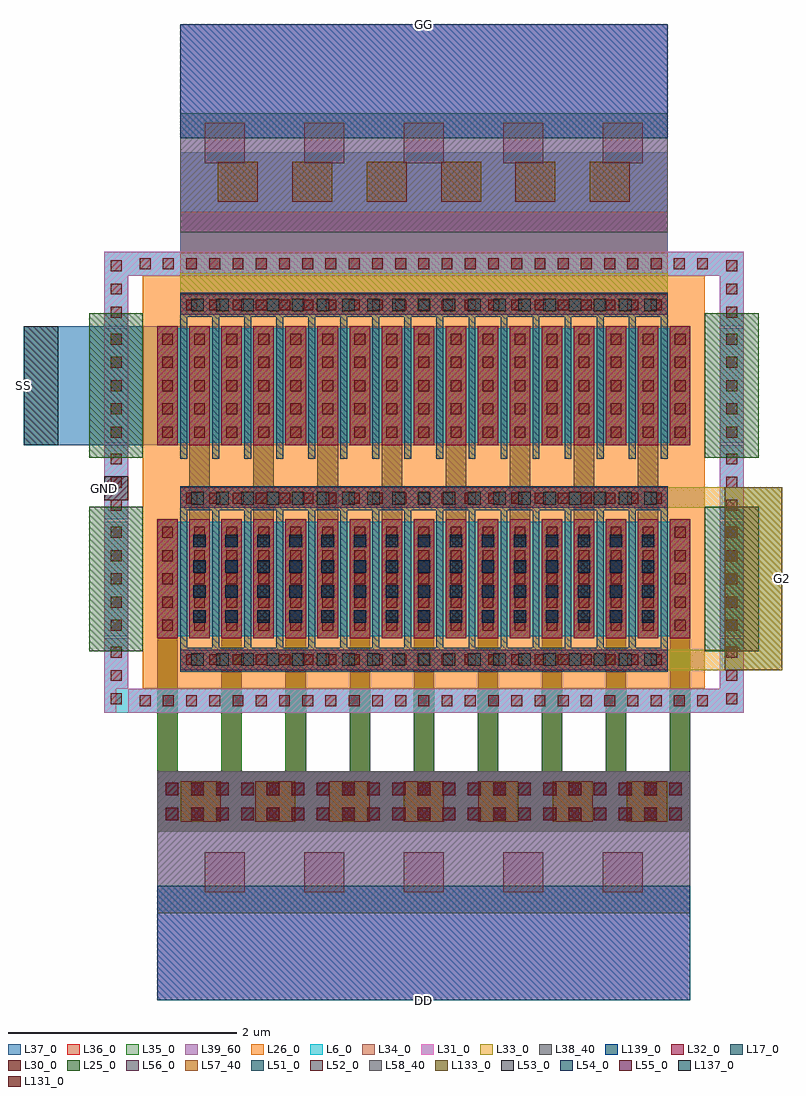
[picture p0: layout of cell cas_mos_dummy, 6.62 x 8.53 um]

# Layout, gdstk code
import gdstk
lib = gdstk.Library(unit=1e-6, precision=1e-09)
def R(c, l, rs):  # rectangles x0, y0, x1, y1
    for r in rs: c.add(gdstk.rectangle(r[:2], r[2:], *l))
def A(c, l, x, y, w, h, nx, ny, dx, dy):  # array of equal rectangles
    R(c, l, [(x+i*dx, y+j*dy, x+i*dx+w, y+j*dy+h) for i in range(nx) for j in range(ny)])
def P(c, l, *ps):  # polygons
    for p in ps: c.add(gdstk.Polygon(p, *l))
L6_0 = (6, 0)
L17_0 = (17, 0)
L25_0 = (25, 0)
L26_0 = (26, 0)
L30_0 = (30, 0)
L31_0 = (31, 0)
L32_0 = (32, 0)
L33_0 = (33, 0)
L34_0 = (34, 0)
L35_0 = (35, 0)
L36_0 = (36, 0)
L37_0 = (37, 0)
L38_40 = (38, 40)
L39_60 = (39, 60)
L51_0 = (51, 0)
L52_0 = (52, 0)
L53_0 = (53, 0)
L54_0 = (54, 0)
L55_0 = (55, 0)
L56_0 = (56, 0)
L57_40 = (57, 40)
L58_40 = (58, 40)
L131_0 = (131, 0)
L133_0 = (133, 0)
L137_0 = (137, 0)
L139_0 = (139, 0)

cas_mos_dummy = lib.new_cell('cas_mos_dummy')
R(cas_mos_dummy, L6_0, [(-0.47,-1.69,-0.26,-0.69), (0,-1.69,4.65,-0.69), (4.91,-1.69,5.12,-0.69), (-0.47,-0.67,-0.26,-0.02), (4.91,-0.67,5.12,-0.02), (-0.47,0,-0.26,1), (0,0,4.65,1), (4.91,0,5.12,1)])
P(cas_mos_dummy, L6_0, [(-0.26,-1.71),(-0.47,-1.71),(-0.47,-2.36),(5.12,-2.36),(5.12,-2.36),(5.12,-1.71),(4.91,-1.71),(4.91,-2.15),(-0.26,-2.15)],
  [(-0.47,1.02),(-0.26,1.02),(-0.26,1.46),(4.91,1.46),(4.91,1.02),(5.12,1.02),(5.12,1.67),(5.12,1.67),(-0.47,1.67)])
A(cas_mos_dummy, L17_0, 0.195, -1.79, 0.06, 1.2, 16, 1, 0.28, 0)
A(cas_mos_dummy, L17_0, 0.195, -0.14, 0.06, 1.24, 16, 1, 0.28, 0)
R(cas_mos_dummy, L17_0, [(0.195,-2,4.455,-1.79), (0.195,-0.59,4.455,-0.38), (0.195,1.1,4.455,1.31)])
R(cas_mos_dummy, L25_0, [(-0.6,-1.82,-0.13,-0.56), (4.78,-1.82,5.25,-0.56), (-0.6,-0.13,-0.13,1.13), (4.78,-0.13,5.25,1.13)])
R(cas_mos_dummy, L26_0, [(-0.13,-2.15,4.78,1.46)])
A(cas_mos_dummy, L30_0, -0.159, -2.302, 0.095, 0.095, 10, 1, 0.203, 0)
A(cas_mos_dummy, L30_0, 2.277, -2.302, 0.095, 0.095, 13, 1, 0.203, 0)
A(cas_mos_dummy, L30_0, -0.412, -2.285, 0.095, 0.095, 1, 3, 0, 0.203)
A(cas_mos_dummy, L30_0, 4.967, -2.285, 0.095, 0.095, 1, 3, 0, 0.203)
A(cas_mos_dummy, L30_0, 0.248, -1.942, 0.095, 0.094, 13, 2, 0.203, 3.1)
A(cas_mos_dummy, L30_0, 3.495, -1.942, 0.095, 0.094, 5, 2, 0.203, 3.1)
A(cas_mos_dummy, L30_0, -0.412, -1.643, 0.095, 0.095, 1, 5, 0, 0.203)
A(cas_mos_dummy, L30_0, 0.037, -1.643, 0.095, 0.095, 1, 5, 0, 0.203)
A(cas_mos_dummy, L30_0, 0.317, -1.643, 0.095, 0.095, 1, 5, 0, 0.203)
A(cas_mos_dummy, L30_0, 0.598, -1.643, 0.094, 0.095, 6, 5, 0.28, 0.203)
A(cas_mos_dummy, L30_0, 2.277, -1.643, 0.096, 0.095, 1, 5, 0, 0.203)
A(cas_mos_dummy, L30_0, 2.558, -1.643, 0.094, 0.095, 1, 5, 0, 0.203)
A(cas_mos_dummy, L30_0, 2.838, -1.643, 0.094, 0.095, 1, 5, 0, 0.203)
A(cas_mos_dummy, L30_0, 3.117, -1.643, 0.095, 0.095, 1, 5, 0, 0.203)
A(cas_mos_dummy, L30_0, 3.397, -1.643, 0.095, 0.095, 1, 5, 0, 0.203)
A(cas_mos_dummy, L30_0, 3.678, -1.643, 0.094, 0.095, 4, 5, 0.28, 0.203)
A(cas_mos_dummy, L30_0, 4.967, -1.643, 0.095, 0.095, 1, 5, 0, 0.203)
A(cas_mos_dummy, L30_0, -0.412, -0.595, 0.095, 0.095, 1, 3, 0, 0.203)
A(cas_mos_dummy, L30_0, 4.967, -0.595, 0.095, 0.095, 1, 3, 0, 0.203)
A(cas_mos_dummy, L30_0, 0.248, -0.532, 0.095, 0.095, 13, 1, 0.203, 0)
A(cas_mos_dummy, L30_0, 3.495, -0.532, 0.095, 0.095, 5, 1, 0.203, 0)
A(cas_mos_dummy, L30_0, -0.412, 0.046, 0.095, 0.095, 1, 5, 0, 0.203)
A(cas_mos_dummy, L30_0, 0.037, 0.046, 0.095, 0.095, 1, 5, 0, 0.203)
A(cas_mos_dummy, L30_0, 0.317, 0.046, 0.095, 0.095, 1, 5, 0, 0.203)
A(cas_mos_dummy, L30_0, 0.598, 0.046, 0.094, 0.095, 6, 5, 0.28, 0.203)
A(cas_mos_dummy, L30_0, 2.277, 0.046, 0.096, 0.095, 1, 5, 0, 0.203)
A(cas_mos_dummy, L30_0, 2.558, 0.046, 0.094, 0.095, 1, 5, 0, 0.203)
A(cas_mos_dummy, L30_0, 2.838, 0.046, 0.094, 0.095, 1, 5, 0, 0.203)
A(cas_mos_dummy, L30_0, 3.117, 0.046, 0.095, 0.095, 1, 5, 0, 0.203)
A(cas_mos_dummy, L30_0, 3.397, 0.046, 0.095, 0.095, 1, 5, 0, 0.203)
A(cas_mos_dummy, L30_0, 3.678, 0.046, 0.094, 0.095, 4, 5, 0.28, 0.203)
A(cas_mos_dummy, L30_0, 4.967, 0.046, 0.095, 0.095, 1, 5, 0, 0.203)
A(cas_mos_dummy, L30_0, -0.412, 1.094, 0.095, 0.095, 1, 3, 0, 0.203)
A(cas_mos_dummy, L30_0, 4.967, 1.094, 0.095, 0.095, 1, 3, 0, 0.203)
A(cas_mos_dummy, L30_0, -0.159, 1.518, 0.095, 0.094, 10, 1, 0.203, 0)
A(cas_mos_dummy, L30_0, 2.277, 1.518, 0.095, 0.094, 13, 1, 0.203, 0)
R(cas_mos_dummy, L30_0, [(1.872,-2.302,1.966,-2.207), (2.074,-2.302,2.17,-2.207), (2.886,-1.942,2.982,-1.848), (3.09,-1.942,3.184,-1.848), (3.292,-1.942,3.388,-1.848), (2.886,-0.532,2.982,-0.437), (3.09,-0.532,3.184,-0.437), (3.292,-0.532,3.388,-0.437), (2.886,1.158,2.982,1.252), (3.09,1.158,3.184,1.252), (3.292,1.158,3.388,1.252), (1.872,1.518,1.966,1.612), (2.074,1.518,2.17,1.612)])
A(cas_mos_dummy, L31_0, -0.005, -1.71, 0.18, 1.04, 17, 2, 0.28, 1.69)
R(cas_mos_dummy, L31_0, [(0.195,-1.99,4.455,-1.81), (0.195,-0.57,4.455,-0.39), (0.195,1.12,4.455,1.3)])
P(cas_mos_dummy, L31_0, [(-0.365,-2.15),(-0.365,-2.36),(5.12,-2.36),(5.12,-2.36),(5.12,1.67),(5.12,1.67),(-0.47,1.67),(-0.47,-2.36),(-0.26,-2.36),(-0.26,1.46),(4.91,1.46),(4.91,-2.15)])
A(cas_mos_dummy, L32_0, -0.005, -1.71, 0.18, 1.04, 17, 2, 0.28, 1.69)
R(cas_mos_dummy, L32_0, [(0.195,-1.99,4.455,-1.81), (0.195,-0.57,4.455,-0.39), (0.195,1.12,4.455,1.3)])
A(cas_mos_dummy, L33_0, -0.005, -1.71, 0.18, 1.04, 17, 2, 0.28, 1.69)
R(cas_mos_dummy, L33_0, [(0.195,-1.99,4.455,-1.81), (4.455,-1.99,4.955,-1.81), (4.955,-1.99,5.455,-0.39), (0.195,-0.57,4.455,-0.39), (4.455,-0.57,4.955,-0.39), (0.195,1.12,4.455,1.3), (0.195,1.3,4.455,1.48)])
A(cas_mos_dummy, L34_0, -0.005, -1.71, 0.18, 1.04, 17, 2, 0.28, 1.69)
R(cas_mos_dummy, L34_0, [(0.275,-0.67,0.455,-0.02), (0.275,-0.67,0.455,-0.02), (0.275,-0.67,0.455,-0.02), (0.275,-0.67,0.455,-0.02), (0.275,-0.67,0.455,-0.02), (0.835,-0.67,1.015,-0.02), (0.835,-0.67,1.015,-0.02), (0.835,-0.67,1.015,-0.02), (0.835,-0.67,1.015,-0.02), (0.835,-0.67,1.015,-0.02), (1.395,-0.67,1.575,-0.02), (1.395,-0.67,1.575,-0.02), (1.395,-0.67,1.575,-0.02), (1.395,-0.67,1.575,-0.02), (1.395,-0.67,1.575,-0.02), (1.955,-0.67,2.135,-0.02), (1.955,-0.67,2.135,-0.02), (1.955,-0.67,2.135,-0.02), (1.955,-0.67,2.135,-0.02), (1.955,-0.67,2.135,-0.02), (2.515,-0.67,2.695,-0.02), (2.515,-0.67,2.695,-0.02), (2.515,-0.67,2.695,-0.02), (2.515,-0.67,2.695,-0.02), (2.515,-0.67,2.695,-0.02), (3.075,-0.67,3.255,-0.02), (3.075,-0.67,3.255,-0.02), (3.075,-0.67,3.255,-0.02), (3.075,-0.67,3.255,-0.02), (3.075,-0.67,3.255,-0.02), (3.635,-0.67,3.815,-0.02), (3.635,-0.67,3.815,-0.02), (3.635,-0.67,3.815,-0.02), (3.635,-0.67,3.815,-0.02), (3.635,-0.67,3.815,-0.02), (4.195,-0.67,4.375,-0.02), (4.195,-0.67,4.375,-0.02), (4.195,-0.67,4.375,-0.02), (4.195,-0.67,4.375,-0.02), (4.195,-0.67,4.375,-0.02), (0.195,1.3,4.455,1.66)])
A(cas_mos_dummy, L35_0, -0.005, -1.71, 0.18, 1.04, 17, 2, 0.28, 1.69)
R(cas_mos_dummy, L35_0, [(-0.005,-3.4,4.655,-2.87), (-0.005,-2.87,0.175,-1.71), (-0.005,-2.87,0.175,-1.71), (-0.005,-2.87,0.175,-1.71), (-0.005,-2.87,0.175,-1.71), (0.555,-2.87,0.735,-1.71), (0.555,-2.87,0.735,-1.71), (0.555,-2.87,0.735,-1.71), (0.555,-2.87,0.735,-1.71), (0.555,-2.87,0.735,-1.71), (1.115,-2.87,1.295,-1.71), (1.115,-2.87,1.295,-1.71), (1.115,-2.87,1.295,-1.71), (1.115,-2.87,1.295,-1.71), (1.115,-2.87,1.295,-1.71), (1.675,-2.87,1.855,-1.71), (1.675,-2.87,1.855,-1.71), (1.675,-2.87,1.855,-1.71), (1.675,-2.87,1.855,-1.71), (1.675,-2.87,1.855,-1.71), (2.235,-2.87,2.415,-1.71), (2.235,-2.87,2.415,-1.71), (2.235,-2.87,2.415,-1.71), (2.235,-2.87,2.415,-1.71), (2.235,-2.87,2.415,-1.71), (2.795,-2.87,2.975,-1.71), (2.795,-2.87,2.975,-1.71), (2.795,-2.87,2.975,-1.71), (2.795,-2.87,2.975,-1.71), (2.795,-2.87,2.975,-1.71), (3.355,-2.87,3.535,-1.71), (3.355,-2.87,3.535,-1.71), (3.355,-2.87,3.535,-1.71), (3.355,-2.87,3.535,-1.71), (3.355,-2.87,3.535,-1.71), (3.915,-2.87,4.095,-1.71), (3.915,-2.87,4.095,-1.71), (3.915,-2.87,4.095,-1.71), (3.915,-2.87,4.095,-1.71), (3.915,-2.87,4.095,-1.71), (4.475,-2.87,4.655,-1.71), (4.475,-2.87,4.655,-1.71), (4.475,-2.87,4.655,-1.71), (4.475,-2.87,4.655,-1.71), (4.475,-2.87,4.655,-1.71), (-0.005,-2.36,0.175,-1.71), (4.475,-1.71,4.655,-0.67), (4.475,-1.71,4.655,-0.67), (4.475,-1.71,4.655,-0.67), (4.475,-1.71,4.655,-0.67), (4.475,-1.71,4.655,-0.67), (0.275,-0.67,0.455,-0.02), (0.275,-0.67,0.455,-0.02), (0.275,-0.67,0.455,-0.02), (0.275,-0.67,0.455,-0.02), (0.275,-0.67,0.455,-0.02), (0.835,-0.67,1.015,-0.02), (0.835,-0.67,1.015,-0.02), (0.835,-0.67,1.015,-0.02), (0.835,-0.67,1.015,-0.02), (0.835,-0.67,1.015,-0.02), (1.395,-0.67,1.575,-0.02), (1.395,-0.67,1.575,-0.02), (1.395,-0.67,1.575,-0.02), (1.395,-0.67,1.575,-0.02), (1.395,-0.67,1.575,-0.02), (1.955,-0.67,2.135,-0.02), (1.955,-0.67,2.135,-0.02), (1.955,-0.67,2.135,-0.02), (1.955,-0.67,2.135,-0.02), (1.955,-0.67,2.135,-0.02), (2.515,-0.67,2.695,-0.02), (2.515,-0.67,2.695,-0.02), (2.515,-0.67,2.695,-0.02), (2.515,-0.67,2.695,-0.02), (2.515,-0.67,2.695,-0.02), (3.075,-0.67,3.255,-0.02), (3.075,-0.67,3.255,-0.02), (3.075,-0.67,3.255,-0.02), (3.075,-0.67,3.255,-0.02), (3.075,-0.67,3.255,-0.02), (3.635,-0.67,3.815,-0.02), (3.635,-0.67,3.815,-0.02), (3.635,-0.67,3.815,-0.02), (3.635,-0.67,3.815,-0.02), (3.635,-0.67,3.815,-0.02), (4.195,-0.67,4.375,-0.02), (4.195,-0.67,4.375,-0.02), (4.195,-0.67,4.375,-0.02), (4.195,-0.67,4.375,-0.02), (4.195,-0.67,4.375,-0.02), (0.195,1.48,4.455,1.84)])
R(cas_mos_dummy, L36_0, [(-0.005,-3.4,4.655,-2.87), (-0.005,-2.87,0.175,-1.71), (-0.005,-2.87,0.175,-1.71), (-0.005,-2.87,0.175,-1.71), (-0.005,-2.87,0.175,-1.71), (0.555,-2.87,0.735,-1.71), (0.555,-2.87,0.735,-1.71), (0.555,-2.87,0.735,-1.71), (0.555,-2.87,0.735,-1.71), (0.555,-2.87,0.735,-1.71), (1.115,-2.87,1.295,-1.71), (1.115,-2.87,1.295,-1.71), (1.115,-2.87,1.295,-1.71), (1.115,-2.87,1.295,-1.71), (1.115,-2.87,1.295,-1.71), (1.675,-2.87,1.855,-1.71), (1.675,-2.87,1.855,-1.71), (1.675,-2.87,1.855,-1.71), (1.675,-2.87,1.855,-1.71), (1.675,-2.87,1.855,-1.71), (2.235,-2.87,2.415,-1.71), (2.235,-2.87,2.415,-1.71), (2.235,-2.87,2.415,-1.71), (2.235,-2.87,2.415,-1.71), (2.235,-2.87,2.415,-1.71), (2.795,-2.87,2.975,-1.71), (2.795,-2.87,2.975,-1.71), (2.795,-2.87,2.975,-1.71), (2.795,-2.87,2.975,-1.71), (2.795,-2.87,2.975,-1.71), (3.355,-2.87,3.535,-1.71), (3.355,-2.87,3.535,-1.71), (3.355,-2.87,3.535,-1.71), (3.355,-2.87,3.535,-1.71), (3.355,-2.87,3.535,-1.71), (3.915,-2.87,4.095,-1.71), (3.915,-2.87,4.095,-1.71), (3.915,-2.87,4.095,-1.71), (3.915,-2.87,4.095,-1.71), (3.915,-2.87,4.095,-1.71), (4.475,-2.87,4.655,-1.71), (4.475,-2.87,4.655,-1.71), (4.475,-2.87,4.655,-1.71), (4.475,-2.87,4.655,-1.71), (4.475,-2.87,4.655,-1.71), (-0.005,-2.36,0.175,-1.71), (-0.005,-1.71,0.175,-0.67), (-0.005,-1.71,0.175,-0.67), (-0.005,-1.71,0.175,-0.67), (-0.005,-1.71,0.175,-0.67), (-0.005,-1.71,0.175,-0.67), (0.555,-1.71,0.735,-0.67), (0.555,-1.71,0.735,-0.67), (0.555,-1.71,0.735,-0.67), (0.555,-1.71,0.735,-0.67), (0.555,-1.71,0.735,-0.67), (1.115,-1.71,1.295,-0.67), (1.115,-1.71,1.295,-0.67), (1.115,-1.71,1.295,-0.67), (1.115,-1.71,1.295,-0.67), (1.115,-1.71,1.295,-0.67), (1.675,-1.71,1.855,-0.67), (1.675,-1.71,1.855,-0.67), (1.675,-1.71,1.855,-0.67), (1.675,-1.71,1.855,-0.67), (1.675,-1.71,1.855,-0.67), (2.235,-1.71,2.415,-0.67), (2.235,-1.71,2.415,-0.67), (2.235,-1.71,2.415,-0.67), (2.235,-1.71,2.415,-0.67), (2.235,-1.71,2.415,-0.67), (2.795,-1.71,2.975,-0.67), (2.795,-1.71,2.975,-0.67), (2.795,-1.71,2.975,-0.67), (2.795,-1.71,2.975,-0.67), (2.795,-1.71,2.975,-0.67), (3.355,-1.71,3.535,-0.67), (3.355,-1.71,3.535,-0.67), (3.355,-1.71,3.535,-0.67), (3.355,-1.71,3.535,-0.67), (3.355,-1.71,3.535,-0.67), (3.915,-1.71,4.095,-0.67), (3.915,-1.71,4.095,-0.67), (3.915,-1.71,4.095,-0.67), (3.915,-1.71,4.095,-0.67), (3.915,-1.71,4.095,-0.67), (4.475,-1.71,4.655,-0.67), (4.475,-1.71,4.655,-0.67), (4.475,-1.71,4.655,-0.67), (4.475,-1.71,4.655,-0.67), (4.475,-1.71,4.655,-0.67), (-0.005,-0.02,0.175,1.02), (0.555,-0.02,0.735,1.02), (0.555,-0.02,0.735,1.02), (0.555,-0.02,0.735,1.02), (0.555,-0.02,0.735,1.02), (0.555,-0.02,0.735,1.02), (1.115,-0.02,1.295,1.02), (1.115,-0.02,1.295,1.02), (1.115,-0.02,1.295,1.02), (1.115,-0.02,1.295,1.02), (1.115,-0.02,1.295,1.02), (1.675,-0.02,1.855,1.02), (1.675,-0.02,1.855,1.02), (1.675,-0.02,1.855,1.02), (1.675,-0.02,1.855,1.02), (1.675,-0.02,1.855,1.02), (2.235,-0.02,2.415,1.02), (2.235,-0.02,2.415,1.02), (2.235,-0.02,2.415,1.02), (2.235,-0.02,2.415,1.02), (2.235,-0.02,2.415,1.02), (2.795,-0.02,2.975,1.02), (2.795,-0.02,2.975,1.02), (2.795,-0.02,2.975,1.02), (2.795,-0.02,2.975,1.02), (2.795,-0.02,2.975,1.02), (3.355,-0.02,3.535,1.02), (3.355,-0.02,3.535,1.02), (3.355,-0.02,3.535,1.02), (3.355,-0.02,3.535,1.02), (3.355,-0.02,3.535,1.02), (3.915,-0.02,4.095,1.02), (3.915,-0.02,4.095,1.02), (3.915,-0.02,4.095,1.02), (3.915,-0.02,4.095,1.02), (3.915,-0.02,4.095,1.02), (4.475,-0.02,4.655,1.02), (0.195,1.66,4.455,2.02)])
R(cas_mos_dummy, L37_0, [(-0.005,-3.4,4.655,-2.87), (-0.005,-2.87,0.175,-1.71), (-0.005,-2.87,0.175,-1.71), (-0.005,-2.87,0.175,-1.71), (-0.005,-2.87,0.175,-1.71), (0.555,-2.87,0.735,-1.71), (0.555,-2.87,0.735,-1.71), (0.555,-2.87,0.735,-1.71), (0.555,-2.87,0.735,-1.71), (0.555,-2.87,0.735,-1.71), (1.115,-2.87,1.295,-1.71), (1.115,-2.87,1.295,-1.71), (1.115,-2.87,1.295,-1.71), (1.115,-2.87,1.295,-1.71), (1.115,-2.87,1.295,-1.71), (1.675,-2.87,1.855,-1.71), (1.675,-2.87,1.855,-1.71), (1.675,-2.87,1.855,-1.71), (1.675,-2.87,1.855,-1.71), (1.675,-2.87,1.855,-1.71), (2.235,-2.87,2.415,-1.71), (2.235,-2.87,2.415,-1.71), (2.235,-2.87,2.415,-1.71), (2.235,-2.87,2.415,-1.71), (2.235,-2.87,2.415,-1.71), (2.795,-2.87,2.975,-1.71), (2.795,-2.87,2.975,-1.71), (2.795,-2.87,2.975,-1.71), (2.795,-2.87,2.975,-1.71), (2.795,-2.87,2.975,-1.71), (3.355,-2.87,3.535,-1.71), (3.355,-2.87,3.535,-1.71), (3.355,-2.87,3.535,-1.71), (3.355,-2.87,3.535,-1.71), (3.355,-2.87,3.535,-1.71), (3.915,-2.87,4.095,-1.71), (3.915,-2.87,4.095,-1.71), (3.915,-2.87,4.095,-1.71), (3.915,-2.87,4.095,-1.71), (3.915,-2.87,4.095,-1.71), (4.475,-2.87,4.655,-1.71), (4.475,-2.87,4.655,-1.71), (4.475,-2.87,4.655,-1.71), (4.475,-2.87,4.655,-1.71), (4.475,-2.87,4.655,-1.71), (-0.005,-2.36,0.175,-1.71), (-0.005,-1.71,0.175,-0.67), (-0.005,-1.71,0.175,-0.67), (-0.005,-1.71,0.175,-0.67), (-0.005,-1.71,0.175,-0.67), (-0.005,-1.71,0.175,-0.67), (0.555,-1.71,0.735,-0.67), (0.555,-1.71,0.735,-0.67), (0.555,-1.71,0.735,-0.67), (0.555,-1.71,0.735,-0.67), (0.555,-1.71,0.735,-0.67), (1.115,-1.71,1.295,-0.67), (1.115,-1.71,1.295,-0.67), (1.115,-1.71,1.295,-0.67), (1.115,-1.71,1.295,-0.67), (1.115,-1.71,1.295,-0.67), (1.675,-1.71,1.855,-0.67), (1.675,-1.71,1.855,-0.67), (1.675,-1.71,1.855,-0.67), (1.675,-1.71,1.855,-0.67), (1.675,-1.71,1.855,-0.67), (2.235,-1.71,2.415,-0.67), (2.235,-1.71,2.415,-0.67), (2.235,-1.71,2.415,-0.67), (2.235,-1.71,2.415,-0.67), (2.235,-1.71,2.415,-0.67), (2.795,-1.71,2.975,-0.67), (2.795,-1.71,2.975,-0.67), (2.795,-1.71,2.975,-0.67), (2.795,-1.71,2.975,-0.67), (2.795,-1.71,2.975,-0.67), (3.355,-1.71,3.535,-0.67), (3.355,-1.71,3.535,-0.67), (3.355,-1.71,3.535,-0.67), (3.355,-1.71,3.535,-0.67), (3.355,-1.71,3.535,-0.67), (3.915,-1.71,4.095,-0.67), (3.915,-1.71,4.095,-0.67), (3.915,-1.71,4.095,-0.67), (3.915,-1.71,4.095,-0.67), (3.915,-1.71,4.095,-0.67), (4.475,-1.71,4.655,-0.67), (4.475,-1.71,4.655,-0.67), (4.475,-1.71,4.655,-0.67), (4.475,-1.71,4.655,-0.67), (4.475,-1.71,4.655,-0.67), (-1.17,-0.02,4.655,1.02), (0.195,1.84,4.455,2.54)])
R(cas_mos_dummy, L38_40, [(-0.005,-4.11,4.655,-2.87), (0.195,1.84,4.455,2.88)])
R(cas_mos_dummy, L39_60, [(-0.005,-4.87,4.655,-2.87), (0.195,1.66,4.455,3.66)])
A(cas_mos_dummy, L51_0, 0.29, -1.95, 0.11, 0.11, 19, 2, 0.22, 1.41)
A(cas_mos_dummy, L51_0, 0.31, -1.575, 0.11, 0.11, 15, 4, 0.28, 0.22)
A(cas_mos_dummy, L51_0, 0.29, 1.15, 0.11, 0.11, 19, 1, 0.22, 0)
A(cas_mos_dummy, L52_0, 0.29, -1.95, 0.11, 0.11, 19, 2, 0.22, 1.41)
A(cas_mos_dummy, L52_0, 0.31, -1.575, 0.11, 0.11, 15, 4, 0.28, 0.22)
A(cas_mos_dummy, L52_0, 0.29, 1.15, 0.11, 0.11, 19, 1, 0.22, 0)
A(cas_mos_dummy, L53_0, 0.31, -1.575, 0.11, 0.11, 15, 4, 0.28, 0.22)
A(cas_mos_dummy, L54_0, 0.31, -1.575, 0.11, 0.11, 15, 4, 0.28, 0.22)
A(cas_mos_dummy, L55_0, 0.07, -3.3, 0.11, 0.11, 21, 2, 0.22, 0.22)
A(cas_mos_dummy, L56_0, 0.07, -3.3, 0.11, 0.11, 21, 2, 0.22, 0.22)
R(cas_mos_dummy, L56_0, [(0.59,-1.575,0.7,-1.465), (0.59,-1.575,0.7,-1.465), (0.59,-1.575,0.7,-1.465), (0.59,-1.575,0.7,-1.465), (0.59,-1.575,0.7,-1.465), (1.15,-1.575,1.26,-1.465), (1.15,-1.575,1.26,-1.465), (1.15,-1.575,1.26,-1.465), (1.15,-1.575,1.26,-1.465), (1.15,-1.575,1.26,-1.465), (1.71,-1.575,1.82,-1.465), (1.71,-1.575,1.82,-1.465), (1.71,-1.575,1.82,-1.465), (1.71,-1.575,1.82,-1.465), (1.71,-1.575,1.82,-1.465), (2.27,-1.575,2.38,-1.465), (2.27,-1.575,2.38,-1.465), (2.27,-1.575,2.38,-1.465), (2.27,-1.575,2.38,-1.465), (2.27,-1.575,2.38,-1.465), (2.83,-1.575,2.94,-1.465), (2.83,-1.575,2.94,-1.465), (2.83,-1.575,2.94,-1.465), (2.83,-1.575,2.94,-1.465), (2.83,-1.575,2.94,-1.465), (3.39,-1.575,3.5,-1.465), (3.39,-1.575,3.5,-1.465), (3.39,-1.575,3.5,-1.465), (3.39,-1.575,3.5,-1.465), (3.39,-1.575,3.5,-1.465), (3.95,-1.575,4.06,-1.465), (3.95,-1.575,4.06,-1.465), (3.95,-1.575,4.06,-1.465), (3.95,-1.575,4.06,-1.465), (3.95,-1.575,4.06,-1.465), (0.59,-1.355,0.7,-1.245), (0.59,-1.355,0.7,-1.245), (0.59,-1.355,0.7,-1.245), (0.59,-1.355,0.7,-1.245), (0.59,-1.355,0.7,-1.245), (1.15,-1.355,1.26,-1.245), (1.15,-1.355,1.26,-1.245), (1.15,-1.355,1.26,-1.245), (1.15,-1.355,1.26,-1.245), (1.15,-1.355,1.26,-1.245), (1.71,-1.355,1.82,-1.245), (1.71,-1.355,1.82,-1.245), (1.71,-1.355,1.82,-1.245), (1.71,-1.355,1.82,-1.245), (1.71,-1.355,1.82,-1.245), (2.27,-1.355,2.38,-1.245), (2.27,-1.355,2.38,-1.245), (2.27,-1.355,2.38,-1.245), (2.27,-1.355,2.38,-1.245), (2.27,-1.355,2.38,-1.245), (2.83,-1.355,2.94,-1.245), (2.83,-1.355,2.94,-1.245), (2.83,-1.355,2.94,-1.245), (2.83,-1.355,2.94,-1.245), (2.83,-1.355,2.94,-1.245), (3.39,-1.355,3.5,-1.245), (3.39,-1.355,3.5,-1.245), (3.39,-1.355,3.5,-1.245), (3.39,-1.355,3.5,-1.245), (3.39,-1.355,3.5,-1.245), (3.95,-1.355,4.06,-1.245), (3.95,-1.355,4.06,-1.245), (3.95,-1.355,4.06,-1.245), (3.95,-1.355,4.06,-1.245), (3.95,-1.355,4.06,-1.245), (0.59,-1.135,0.7,-1.025), (0.59,-1.135,0.7,-1.025), (0.59,-1.135,0.7,-1.025), (0.59,-1.135,0.7,-1.025), (0.59,-1.135,0.7,-1.025), (1.15,-1.135,1.26,-1.025), (1.15,-1.135,1.26,-1.025), (1.15,-1.135,1.26,-1.025), (1.15,-1.135,1.26,-1.025), (1.15,-1.135,1.26,-1.025), (1.71,-1.135,1.82,-1.025), (1.71,-1.135,1.82,-1.025), (1.71,-1.135,1.82,-1.025), (1.71,-1.135,1.82,-1.025), (1.71,-1.135,1.82,-1.025), (2.27,-1.135,2.38,-1.025), (2.27,-1.135,2.38,-1.025), (2.27,-1.135,2.38,-1.025), (2.27,-1.135,2.38,-1.025), (2.27,-1.135,2.38,-1.025), (2.83,-1.135,2.94,-1.025), (2.83,-1.135,2.94,-1.025), (2.83,-1.135,2.94,-1.025), (2.83,-1.135,2.94,-1.025), (2.83,-1.135,2.94,-1.025), (3.39,-1.135,3.5,-1.025), (3.39,-1.135,3.5,-1.025), (3.39,-1.135,3.5,-1.025), (3.39,-1.135,3.5,-1.025), (3.39,-1.135,3.5,-1.025), (3.95,-1.135,4.06,-1.025), (3.95,-1.135,4.06,-1.025), (3.95,-1.135,4.06,-1.025), (3.95,-1.135,4.06,-1.025), (3.95,-1.135,4.06,-1.025), (0.59,-0.915,0.7,-0.805), (0.59,-0.915,0.7,-0.805), (0.59,-0.915,0.7,-0.805), (0.59,-0.915,0.7,-0.805), (0.59,-0.915,0.7,-0.805), (1.15,-0.915,1.26,-0.805), (1.15,-0.915,1.26,-0.805), (1.15,-0.915,1.26,-0.805), (1.15,-0.915,1.26,-0.805), (1.15,-0.915,1.26,-0.805), (1.71,-0.915,1.82,-0.805), (1.71,-0.915,1.82,-0.805), (1.71,-0.915,1.82,-0.805), (1.71,-0.915,1.82,-0.805), (1.71,-0.915,1.82,-0.805), (2.27,-0.915,2.38,-0.805), (2.27,-0.915,2.38,-0.805), (2.27,-0.915,2.38,-0.805), (2.27,-0.915,2.38,-0.805), (2.27,-0.915,2.38,-0.805), (2.83,-0.915,2.94,-0.805), (2.83,-0.915,2.94,-0.805), (2.83,-0.915,2.94,-0.805), (2.83,-0.915,2.94,-0.805), (2.83,-0.915,2.94,-0.805), (3.39,-0.915,3.5,-0.805), (3.39,-0.915,3.5,-0.805), (3.39,-0.915,3.5,-0.805), (3.39,-0.915,3.5,-0.805), (3.39,-0.915,3.5,-0.805), (3.95,-0.915,4.06,-0.805), (3.95,-0.915,4.06,-0.805), (3.95,-0.915,4.06,-0.805), (3.95,-0.915,4.06,-0.805), (3.95,-0.915,4.06,-0.805)])
A(cas_mos_dummy, L57_40, 0.2, -3.31, 0.35, 0.35, 7, 1, 0.65, 0)
A(cas_mos_dummy, L57_40, 0.525, 2.105, 0.35, 0.35, 6, 1, 0.65, 0)
A(cas_mos_dummy, L58_40, 0.41, -3.93, 0.35, 0.35, 5, 2, 0.87, 6.375)
R(cas_mos_dummy, L131_0, [(-0.47,-0.502,-0.26,-0.292)])
R(cas_mos_dummy, L133_0, [(4.955,-1.99,5.455,-0.39)])
R(cas_mos_dummy, L137_0, [(-1.17,-0.02,-0.87,1.02)])
R(cas_mos_dummy, L139_0, [(-0.005,-4.87,4.655,-3.87), (0.195,2.66,4.455,3.66)])
cas_mos_dummy.add(gdstk.Label('SS', (-1.17,0.5), layer=137, texttype=0))
cas_mos_dummy.add(gdstk.Label('GG', (2.325,3.66), layer=139, texttype=0))
cas_mos_dummy.add(gdstk.Label('DD', (2.325,-4.87), layer=139, texttype=0))
cas_mos_dummy.add(gdstk.Label('G2', (5.455,-1.19), layer=133, texttype=0))
cas_mos_dummy.add(gdstk.Label('GND', (-0.47,-0.397), layer=131, texttype=0))

lib.write_gds('cas_mos_dummy.gds')
